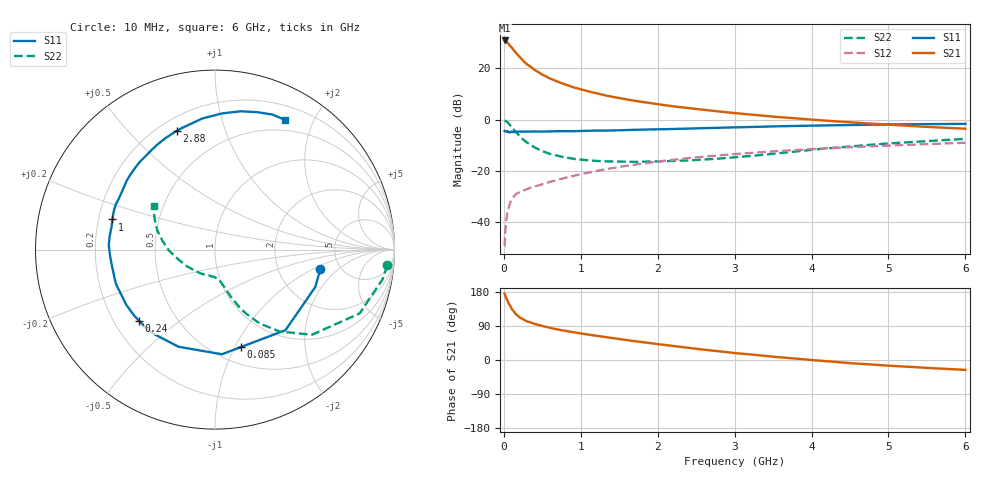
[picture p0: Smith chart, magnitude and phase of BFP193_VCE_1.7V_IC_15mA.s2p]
! Infineon Technologies  Discrete & RF Semiconductors
! BFP193
! VCE = 1.7 V,  IC =  15 mA
! Common Emitter S-Parameters:  Jan 2016
# GHz  S  MA  R  50
!  f  S11  S21  S12  S22
! GHz  MAG  ANG  MAG  ANG  MAG  ANG  MAG  ANG
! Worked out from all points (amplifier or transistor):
!   210 points, 10 MHz to 6 GHz, reference 50 ohm
!   highest |S21| = 31.0 dB at 10 MHz (marker M1)
!   |S21| within 3 dB of that: start of sweep to 108.5 MHz
!   unconditionally stable (mu >= 1): 833.9 MHz to 3.749 GHz
!   at 185 MHz: K = 0.42, MSG = 27.0 dB, |S12| = -28.8 dB
!   at 1.52 GHz: K = 1.08, MAG = 11.6 dB, |S12| = -18.5 dB
!   at 6 GHz: K = 0.93, MSG = 2.8 dB, |S12| = -9.1 dB
!   S11 on the Smith chart (normalised r, x): 10 MHz: 3.51, -1.21; 85 MHz: 0.67, -1.06; 240 MHz: 0.30, -0.36; 1 GHz: 0.26, +0.13; 2.88 GHz: 0.27, +0.69; 6 GHz: 0.36, +1.61
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0.01  0.5969 -10.7  35.43 175.1  0.0033 86.0  0.9639 -5.2
0.02  0.5964 -20.5  34.32 168.6  0.0069 80.8  0.9483 -10.0
0.05  0.5963 -48.8  31.86 154.1  0.0163 71.6  0.8811 -23.8
0.085  0.5618 -75.0  27.46 141.7  0.0239 60.0  0.76 -35.2
0.1  0.5844 -86.2  26.07 135.2  0.0273 57.1  0.7195 -41.2
0.15  0.5782 -110.6  20.73 122.0  0.034 50.2  0.5817 -51.7
0.2  0.5824 -127.1  17.06 113.2  0.0376 47.3  0.4816 -58.8
0.24  0.5802 -136.8  14.72 108.3  0.0398 46.1  0.4206 -62.4
0.3  0.5823 -148.1  12.12 102.1  0.0436 46.0  0.3551 -66.8
0.4  0.5843 -161.0  9.392 95.1  0.049 46.7  0.2836 -71.0
0.5  0.5809 -169.2  7.578 89.6  0.0538 48.6  0.2396 -74.1
0.6  0.5854 -176.2  6.366 84.7  0.06 49.9  0.2121 -76.3
0.7  0.5921 177.7  5.511 80.4  0.0657 51.3  0.1939 -78.3
1  0.5955 163.6  3.895 70.0  0.0847 53.2  0.1635 -84.7
1.02  0.5967 162.9  3.827 69.4  0.086 53.3  0.1625 -85.2
1.4  0.6101 148.8  2.803 58.2  0.1108 52.8  0.1512 -94.7
2.02  0.6444 130.0  1.974 41.4  0.1519 48.4  0.1512 -114.4
2.88  0.6945 107.9  1.398 21.1  0.2035 39.7  0.1755 -145.7
3.1  0.7062 103.4  1.295 16.6  0.2159 37.3  0.1869 -153.1
4.1  0.7636 85.4  0.97 -1.7  0.2683 26.5  0.2636 178.8
5.1  0.8032 71.9  0.779 -16.1  0.3127 15.7  0.3474 159.4
6  0.8214 61.8  0.661 -26.1  0.35 6.0  0.4177 144.9
